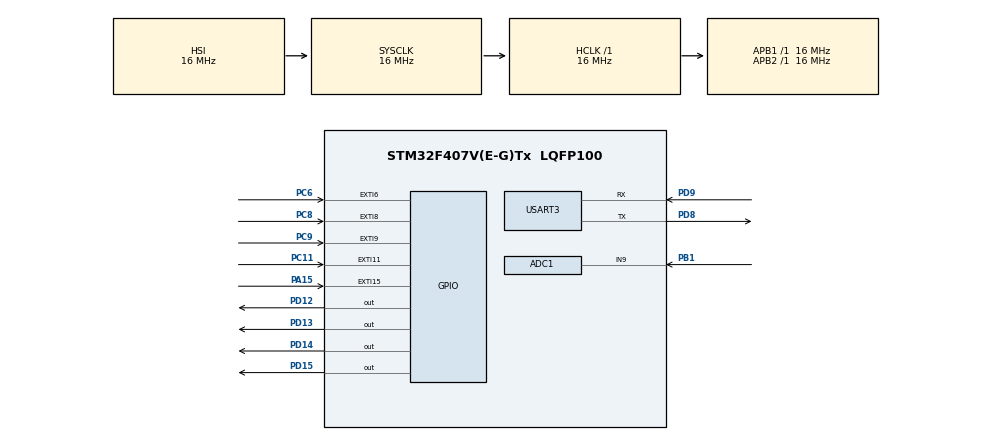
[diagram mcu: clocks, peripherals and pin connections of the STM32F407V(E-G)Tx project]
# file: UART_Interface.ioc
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ADC1.Channel-0\#ChannelRegularConversion=ADC_CHANNEL_9
ADC1.ClockPrescaler=ADC_CLOCK_SYNC_PCLK_DIV8
ADC1.ContinuousConvMode=ENABLE
ADC1.NbrOfConversionFlag=1
ADC1.Rank-0\#ChannelRegularConversion=1
ADC1.SamplingTime-0\#ChannelRegularConversion=ADC_SAMPLETIME_480CYCLES
ADC1.master=1
Mcu.Family=STM32F4
Mcu.Name=STM32F407V(E-G)Tx
Mcu.Package=LQFP100
NVIC.EXTI15_10_IRQn=true\:0\:0\:false\:false\:true\:true\:true
NVIC.EXTI9_5_IRQn=true\:0\:0\:false\:false\:true\:true\:true
NVIC.PriorityGroup=NVIC_PRIORITYGROUP_4
PA15.GPIO_ModeDefaultEXTI=GPIO_MODE_IT_FALLING
PA15.Signal=GPXTI15
PB1.Signal=ADCx_IN9
PC11.GPIO_ModeDefaultEXTI=GPIO_MODE_IT_FALLING
PC11.Signal=GPXTI11
PC6.GPIO_ModeDefaultEXTI=GPIO_MODE_IT_FALLING
PC6.Signal=GPXTI6
PC8.GPIO_ModeDefaultEXTI=GPIO_MODE_IT_FALLING
PC8.Signal=GPXTI8
PC9.GPIO_ModeDefaultEXTI=GPIO_MODE_IT_FALLING
PC9.Signal=GPXTI9
PD12.Signal=GPIO_Output
PD13.Signal=GPIO_Output
PD14.Signal=GPIO_Output
PD15.Signal=GPIO_Output
PD8.Mode=Asynchronous
PD8.Signal=USART3_TX
PD9.Mode=Asynchronous
PD9.Signal=USART3_RX
ProjectManager.HeapSize=0x200
ProjectManager.StackSize=0x400
ProjectManager.TargetToolchain=STM32CubeIDE
RCC.AHBFreq_Value=16000000
RCC.APB1Freq_Value=16000000
RCC.APB2Freq_Value=16000000
RCC.CortexFreq_Value=16000000
RCC.HSE_VALUE=25000000
RCC.HSI_VALUE=16000000
RCC.LSE_VALUE=32768
RCC.SYSCLKFreq_VALUE=16000000
RCC.VCOOutputFreq_Value=192000000
SH.ADCx_IN9.0=ADC1_IN9,IN9
USART3.VirtualMode=VM_ASYNC
board=custom

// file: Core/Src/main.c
/* USER CODE BEGIN Header */
/**
  ******************************************************************************
  * @file           : main.c
  * @brief          : Main program body
  ******************************************************************************
  * @attention
  *
  * <h2><center>&copy; Copyright (c) 2021 STMicroelectronics.
  * All rights reserved.</center></h2>
  *
  * This software component is licensed by ST under BSD 3-Clause license,
  * the "License"; You may not use this file except in compliance with the
  * License. You may obtain a copy of the License at:
  *                        opensource.org/licenses/BSD-3-Clause
  *
  ******************************************************************************
  */
/* USER CODE END Header */
#include "main.h"

/* USER CODE BEGIN Includes */
#include <stdio.h>

/* USER CODE END Includes */

/* USER CODE BEGIN PD */
#ifdef __GNUC__
  /* With GCC, small printf (option LD Linker->Libraries->Small printf
     set to 'Yes') calls __io_putchar() */
  #define PUTCHAR_PROTOTYPE int __io_putchar(int ch)
#else
  #define PUTCHAR_PROTOTYPE int fputc(int ch, FILE *f)
#endif /* __GNUC__ */

#define msg0 "Blue LED ON!"
#define msg1 "Blue LED OFF!"
#define msg2 "Red LED ON!"
#define msg3 "Red LED OFF!"
#define msg4 "Green LED ON!"
#define msg5 "Green LED OFF!"
#define msg6 "Orange LED ON!"
#define msg7 "Orange LED OFF!"
/* USER CODE END PD */

ADC_HandleTypeDef hadc1;

UART_HandleTypeDef huart3;

void SystemClock_Config(void);
static void MX_GPIO_Init(void);
static void MX_ADC1_Init(void);
static void MX_USART3_UART_Init(void);

int main(void)
{

  /* MCU Configuration--------------------------------------------------------*/

  /* Reset of all peripherals, Initializes the Flash interface and the Systick. */
  HAL_Init();

  /* Configure the system clock */
  SystemClock_Config();

  /* Initialize all configured peripherals */
  MX_GPIO_Init();
  MX_ADC1_Init();
  MX_USART3_UART_Init();
  /* USER CODE BEGIN 2 */
  uint32_t adcValue = 0;
  volatile HAL_StatusTypeDef adcPoolResult;

  HAL_ADC_Start(&hadc1);

  /* USER CODE END 2 */

  /* Infinite loop */
  /* USER CODE BEGIN WHILE */
  while (1)
  {

	  printf(get_BlueLed() == 1 ? "\r\nBlueLed ON, with button, number SWT4!\r\n" : "\r\nBlueLed OFF, with button, number SWT4!\r\n");
	  printf(get_RedLed() == 1 ? "\r\nRedLed ON, with button, number SWT5!\r\n" : "\r\nRedLed OFF, with button, number SWT5!\r\n");
	  printf(get_OrangeLed() == 1 ? "\r\nOrangeLed ON, with button, number SWT3!\r\n" : "\r\nOrangeLed OFF, with button, number SWT3!\r\n");
	  printf(get_GreenLed() == 1 ? "\r\nGreenLed ON, with button, number SWT1!\r\n" : "\r\nGreenLed OFF, with button, number SWT1!\r\n");

	  uint8_t rcvBuf;
	  HAL_StatusTypeDef result;

	  result = HAL_UART_Receive(&huart3, &rcvBuf, sizeof(rcvBuf), 10);

	  if (result == HAL_OK)
	  {
		  switch (rcvBuf)
		  {
		  	  case '1':
		  		  HAL_GPIO_WritePin(GPIOD, GPIO_PIN_15, GPIO_PIN_SET);
		  		  HAL_UART_Transmit(&huart3, (uint8_t *)msg0, strlen(msg0), 10);
		  		  break;

		  	  case '0':
		  		  HAL_GPIO_WritePin(GPIOD, GPIO_PIN_15, GPIO_PIN_RESET);
		  		  HAL_UART_Transmit(&huart3, (uint8_t *)msg1, strlen(msg1), 10);
		  		  break;

		  	  case '3':
		  		  HAL_GPIO_WritePin(GPIOD, GPIO_PIN_14, GPIO_PIN_SET);
		  		  HAL_UART_Transmit(&huart3, (uint8_t *)msg2, strlen(msg2), 10);
		  		  break;

		  	  case '2':
		  		  HAL_GPIO_WritePin(GPIOD, GPIO_PIN_14, GPIO_PIN_RESET);
		  		  HAL_UART_Transmit(&huart3, (uint8_t *)msg3, strlen(msg3), 10);
		  		  break;

		  	  case '5':
		  		  HAL_GPIO_WritePin(GPIOD, GPIO_PIN_12, GPIO_PIN_SET);
		  		  HAL_UART_Transmit(&huart3, (uint8_t *)msg4, strlen(msg4), 10);
		  		  break;

		  	  case '4':
		  		  HAL_GPIO_WritePin(GPIOD, GPIO_PIN_12, GPIO_PIN_RESET);
		  		  HAL_UART_Transmit(&huart3, (uint8_t *)msg5, strlen(msg5), 10);
		  		  break;

		  	  case '7':
		  		  HAL_GPIO_WritePin(GPIOD, GPIO_PIN_13, GPIO_PIN_SET);
		  		  HAL_UART_Transmit(&huart3, (uint8_t *)msg6, strlen(msg6), 10);
		  		  break;

		  	  case '6':
		  		  HAL_GPIO_WritePin(GPIOD, GPIO_PIN_13, GPIO_PIN_RESET);
		  		  HAL_UART_Transmit(&huart3, (uint8_t *)msg7, strlen(msg7), 10);
		  		  break;

		  	  default:
		  		  HAL_UART_Transmit(&huart3, (uint8_t *)"Error, Sorry(", 13+2, 10);
		  		  break;
		  }
	  }

	  adcPoolResult = HAL_ADC_PollForConversion(&hadc1, 1);

	  if (adcPoolResult == HAL_OK) // Ext. TempSensor
	  {
	  	  adcValue = HAL_ADC_GetValue(&hadc1); // -24C = 2.5 V; 100C  = 0.02V;

	  if(adcValue >= 2000)
	  {
		  printf("\r\nTemperature from ext. TempSensor: ~%lu C\r\n", (adcValue / 100) - 5);
		  HAL_Delay(5000);
	  } else if (adcValue < 2000)
	  {
		  printf("\r\nTemperature from ext. TempSensor: ~%lu C\r\n", (adcValue / 100) + 5);
		  HAL_Delay(5000);
	  }
	  }

    /* USER CODE END WHILE */

  }
}

void SystemClock_Config(void)
{
  RCC_OscInitTypeDef RCC_OscInitStruct = {0};
  RCC_ClkInitTypeDef RCC_ClkInitStruct = {0};

  /** Configure the main internal regulator output voltage
  */
  __HAL_RCC_PWR_CLK_ENABLE();
  __HAL_PWR_VOLTAGESCALING_CONFIG(PWR_REGULATOR_VOLTAGE_SCALE1);
  /** Initializes the RCC Oscillators according to the specified parameters
  * in the RCC_OscInitTypeDef structure.
  */
  RCC_OscInitStruct.OscillatorType = RCC_OSCILLATORTYPE_HSI;
  RCC_OscInitStruct.HSIState = RCC_HSI_ON;
  RCC_OscInitStruct.HSICalibrationValue = RCC_HSICALIBRATION_DEFAULT;
  RCC_OscInitStruct.PLL.PLLState = RCC_PLL_NONE;
  if (HAL_RCC_OscConfig(&RCC_OscInitStruct) != HAL_OK)
  {
    Error_Handler();
  }
  /** Initializes the CPU, AHB and APB buses clocks
  */
  RCC_ClkInitStruct.ClockType = RCC_CLOCKTYPE_HCLK|RCC_CLOCKTYPE_SYSCLK
                              |RCC_CLOCKTYPE_PCLK1|RCC_CLOCKTYPE_PCLK2;
  RCC_ClkInitStruct.SYSCLKSource = RCC_SYSCLKSOURCE_HSI;
  RCC_ClkInitStruct.AHBCLKDivider = RCC_SYSCLK_DIV1;
  RCC_ClkInitStruct.APB1CLKDivider = RCC_HCLK_DIV1;
  RCC_ClkInitStruct.APB2CLKDivider = RCC_HCLK_DIV1;

  if (HAL_RCC_ClockConfig(&RCC_ClkInitStruct, FLASH_LATENCY_0) != HAL_OK)
  {
    Error_Handler();
  }
}

static void MX_ADC1_Init(void)
{

  ADC_ChannelConfTypeDef sConfig = {0};

  /** Configure the global features of the ADC (Clock, Resolution, Data Alignment and number of conversion)
  */
  hadc1.Instance = ADC1;
  hadc1.Init.ClockPrescaler = ADC_CLOCK_SYNC_PCLK_DIV8;
  hadc1.Init.Resolution = ADC_RESOLUTION_12B;
  hadc1.Init.ScanConvMode = DISABLE;
  hadc1.Init.ContinuousConvMode = ENABLE;
  hadc1.Init.DiscontinuousConvMode = DISABLE;
  hadc1.Init.ExternalTrigConvEdge = ADC_EXTERNALTRIGCONVEDGE_NONE;
  hadc1.Init.ExternalTrigConv = ADC_SOFTWARE_START;
  hadc1.Init.DataAlign = ADC_DATAALIGN_RIGHT;
  hadc1.Init.NbrOfConversion = 1;
  hadc1.Init.DMAContinuousRequests = DISABLE;
  hadc1.Init.EOCSelection = ADC_EOC_SINGLE_CONV;
  if (HAL_ADC_Init(&hadc1) != HAL_OK)
  {
    Error_Handler();
  }
  /** Configure for the selected ADC regular channel its corresponding rank in the sequencer and its sample time.
  */
  sConfig.Channel = ADC_CHANNEL_9;
  sConfig.Rank = 1;
  sConfig.SamplingTime = ADC_SAMPLETIME_480CYCLES;
  if (HAL_ADC_ConfigChannel(&hadc1, &sConfig) != HAL_OK)
  {
    Error_Handler();
  }

}

static void MX_USART3_UART_Init(void)
{

  huart3.Instance = USART3;
  huart3.Init.BaudRate = 115200;
  huart3.Init.WordLength = UART_WORDLENGTH_8B;
  huart3.Init.StopBits = UART_STOPBITS_1;
  huart3.Init.Parity = UART_PARITY_NONE;
  huart3.Init.Mode = UART_MODE_TX_RX;
  huart3.Init.HwFlowCtl = UART_HWCONTROL_NONE;
  huart3.Init.OverSampling = UART_OVERSAMPLING_16;
  if (HAL_UART_Init(&huart3) != HAL_OK)
  {
    Error_Handler();
  }

}

static void MX_GPIO_Init(void)
{
  GPIO_InitTypeDef GPIO_InitStruct = {0};

  /* GPIO Ports Clock Enable */
  __HAL_RCC_GPIOB_CLK_ENABLE();
  __HAL_RCC_GPIOD_CLK_ENABLE();
  __HAL_RCC_GPIOC_CLK_ENABLE();
  __HAL_RCC_GPIOA_CLK_ENABLE();

  /*Configure GPIO pin Output Level */
  HAL_GPIO_WritePin(GPIOD, GPIO_PIN_12|GPIO_PIN_13|GPIO_PIN_14|GPIO_PIN_15, GPIO_PIN_RESET);

  /*Configure GPIO pins : PD12 PD13 PD14 PD15 */
  GPIO_InitStruct.Pin = GPIO_PIN_12|GPIO_PIN_13|GPIO_PIN_14|GPIO_PIN_15;
  GPIO_InitStruct.Mode = GPIO_MODE_OUTPUT_PP;
  GPIO_InitStruct.Pull = GPIO_NOPULL;
  GPIO_InitStruct.Speed = GPIO_SPEED_FREQ_LOW;
  HAL_GPIO_Init(GPIOD, &GPIO_InitStruct);

  /*Configure GPIO pins : PC6 PC8 PC9 PC11 */
  GPIO_InitStruct.Pin = GPIO_PIN_6|GPIO_PIN_8|GPIO_PIN_9|GPIO_PIN_11;
  GPIO_InitStruct.Mode = GPIO_MODE_IT_FALLING;
  GPIO_InitStruct.Pull = GPIO_NOPULL;
  HAL_GPIO_Init(GPIOC, &GPIO_InitStruct);

  /*Configure GPIO pin : PA15 */
  GPIO_InitStruct.Pin = GPIO_PIN_15;
  GPIO_InitStruct.Mode = GPIO_MODE_IT_FALLING;
  GPIO_InitStruct.Pull = GPIO_NOPULL;
  HAL_GPIO_Init(GPIOA, &GPIO_InitStruct);

  /* EXTI interrupt init*/
  HAL_NVIC_SetPriority(EXTI9_5_IRQn, 0, 0);
  HAL_NVIC_EnableIRQ(EXTI9_5_IRQn);

  HAL_NVIC_SetPriority(EXTI15_10_IRQn, 0, 0);
  HAL_NVIC_EnableIRQ(EXTI15_10_IRQn);

}

/* USER CODE BEGIN 4 */
PUTCHAR_PROTOTYPE
{
  /* Place your implementation of fputc here */
  /* e.g. write a character to the EVAL_COM1 and Loop until the end of transmission */
  HAL_UART_Transmit(&huart3, (uint8_t *)&ch, 1, 0xFFFF);

  return ch;
}

/* USER CODE END 4 */

void Error_Handler(void)
{
  __disable_irq();
  while (1)
  {
  }
}

/************************ (C) COPYRIGHT STMicroelectronics *****END OF FILE****/
